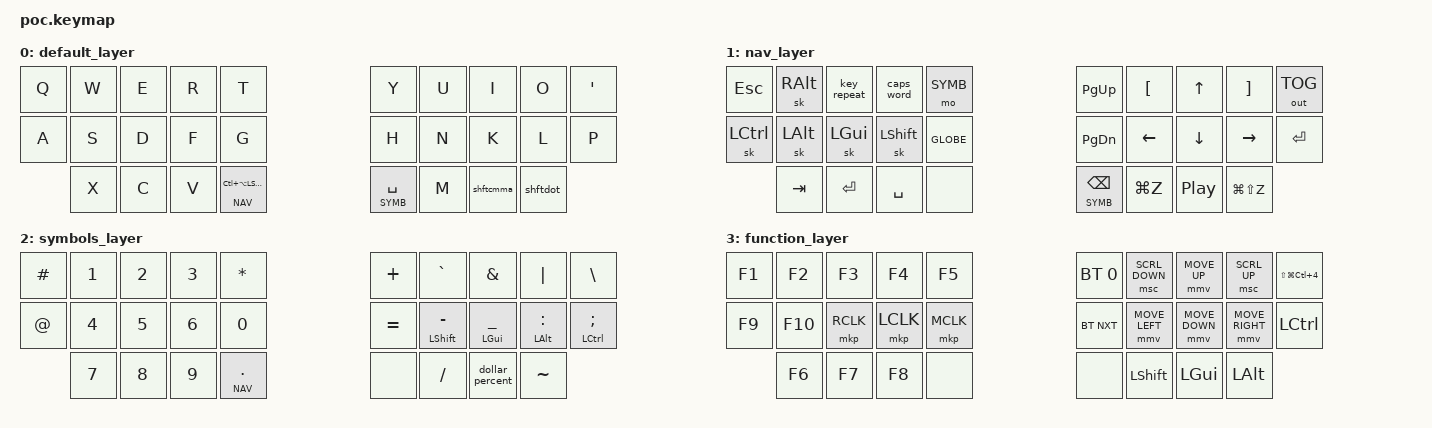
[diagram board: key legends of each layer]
/*
 * Copyright (c) 2020 The ZMK Contributors
 *
 * SPDX-License-Identifier: MIT
 */

#define ZMK_POINTING_DEFAULT_MOVE_VAL 1500
#define ZMK_POINTING_DEFAULT_SCRL_VAL 20

#include <behaviors.dtsi>
#include <dt-bindings/zmk/bt.h>
#include <dt-bindings/zmk/keys.h>
#include <dt-bindings/zmk/outputs.h>
#include <dt-bindings/zmk/pointing.h>

#define DEFAULT 0
#define NAV 1
#define SYMB 2
#define FUNC 3

&sk {
    release-after-ms = <500>;
    quick-release;
};

&lt {
    flavor = "balanced";
    tapping-term-ms = <150>;
    quick-tap-ms = <200>;
};

// &mmv {
// time-to-max-speed-ms = <300>;
// acceleration-exponent = <1>;
// };

/ {
    combos {
        compatible = "zmk,combos";

        z {
            timeout-ms = <40>;
            key-positions = <11 12>;
            bindings = <&kp Z>;
            layers = <0>;
        };

        b {
            timeout-ms = <40>;
            key-positions = <12 13>;
            bindings = <&kp B>;
            layers = <0>;
        };

        j {
            timeout-ms = <40>;
            key-positions = <16 17>;
            bindings = <&kp J>;
            layers = <0>;
        };

        slash {
            timeout-ms = <40>;
            key-positions = <17 18>;
            bindings = <&kp FSLH>;
            layers = <0>;
        };

        britup {
            timeout-ms = <50>;
            key-positions = <1 2 3>;
            bindings = <&kp C_BRI_UP>;
            layers = <0>;
        };

        caps {
            timeout-ms = <50>;
            key-positions = <11 12 13>;
            bindings = <&kp CAPS>;
            layers = <0>;
        };

        britdn {
            timeout-ms = <50>;
            key-positions = <20 21 22>;
            bindings = <&kp C_BRI_DN>;
            layers = <0>;
        };

        volup {
            timeout-ms = <50>;
            key-positions = <6 7 8>;
            bindings = <&kp C_VOL_UP>;
            layers = <0>;
        };

        volmt {
            timeout-ms = <50>;
            key-positions = <16 17 18>;
            bindings = <&kp C_MUTE>;
            layers = <0>;
        };

        voldn {
            timeout-ms = <50>;
            key-positions = <25 26 27>;
            bindings = <&kp C_VOL_DN>;
            layers = <0>;
        };

        bspc {
            timeout-ms = <50>;
            key-positions = <21 22>;
            bindings = <&kp BSPC>;
            layers = <1>;
        };

        home {
            timeout-ms = <50>;
            key-positions = <6 7>;
            bindings = <&kp HOME>;
            layers = <1>;
        };

        end {
            timeout-ms = <50>;
            key-positions = <7 8>;
            bindings = <&kp END>;
            layers = <1>;
        };

        prev {
            timeout-ms = <50>;
            key-positions = <25 26>;
            bindings = <&kp C_PREV>;
            layers = <1>;
        };

        next {
            timeout-ms = <50>;
            key-positions = <26 27>;
            bindings = <&kp C_NEXT>;
            layers = <1>;
        };

        lpar {
            timeout-ms = <50>;
            key-positions = <12 13>;
            bindings = <&kp LPAR>;
            layers = <2>;
        };

        rpar {
            timeout-ms = <50>;
            key-positions = <16 17>;
            bindings = <&kp RPAR>;
            layers = <2>;
        };

        lbkt {
            timeout-ms = <50>;
            key-positions = <11 12>;
            bindings = <&kp LBKT>;
            layers = <2>;
        };

        rbkt {
            timeout-ms = <50>;
            key-positions = <17 18>;
            bindings = <&kp RBKT>;
            layers = <2>;
        };

        lbrc {
            timeout-ms = <50>;
            key-positions = <2 3>;
            bindings = <&kp LBRC>;
            layers = <2>;
        };

        rbrc {
            timeout-ms = <50>;
            key-positions = <6 7>;
            bindings = <&kp RBRC>;
            layers = <2>;
        };

        lt {
            timeout-ms = <50>;
            key-positions = <1 2>;
            bindings = <&kp LT>;
            layers = <2>;
        };

        gt {
            timeout-ms = <50>;
            key-positions = <7 8>;
            bindings = <&kp GT>;
            layers = <2>;
        };

        btclr {
            timeout-ms = <50>;
            key-positions = <10 19>;
            bindings = <&bt BT_CLR>;
            layers = <3>;
        };

        f11 {
            timeout-ms = <50>;
            key-positions = <20 21>;
            bindings = <&kp F11>;
            layers = <3>;
        };

        f12 {
            timeout-ms = <50>;
            key-positions = <21 22>;
            bindings = <&kp F12>;
            layers = <3>;
        };

        bt0 {
            timeout-ms = <50>;
            key-positions = <11 12>;
            bindings = <&bt BT_SEL 0>;
            layers = <3>;
        };

        btnxt {
            timeout-ms = <50>;
            key-positions = <12 13>;
            bindings = <&bt BT_NXT>;
            layers = <3>;
        };

        boot {
            timeout-ms = <50>;
            key-positions = <11 12 13>;
            bindings = <&bootloader>;
            layers = <3>;
        };

        scrl_left {
            timeout-ms = <50>;
            key-positions = <7 8>;
            bindings = <&msc SCRL_LEFT>;
            layers = <3>;
        };

        scrl_right {
            timeout-ms = <50>;
            key-positions = <6 7>;
            bindings = <&msc SCRL_RIGHT>;
            layers = <3>;
        };
    };

    behaviors {
        lm: layer_mod {
            compatible = "zmk,behavior-hold-tap";
            #binding-cells = <2>;
            flavor = "hold-preferred";
            tapping-term-ms = <150>;
            quick-tap-ms = <200>;
            bindings = <&mo>, <&sk>;
        };

        smt: sticky_mod_tap {
            compatible = "zmk,behavior-hold-tap";
            #binding-cells = <2>;
            flavor = "balanced";
            tapping-term-ms = <150>;
            quick-tap-ms = <200>;
            bindings = <&sk>, <&kp>;
        };

        shftcmma: shift_comma {
            compatible = "zmk,behavior-mod-morph";
            #binding-cells = <0>;
            bindings = <&kp CMMA>, <&kp QMARK>;

            mods = <(MOD_LSFT)>;
        };

        shftdot: shift_dot {
            compatible = "zmk,behavior-mod-morph";
            #binding-cells = <0>;
            bindings = <&kp DOT>, <&kp BANG>;

            mods = <(MOD_LSFT)>;
        };

        dollar_percent: dollar_percent {
            compatible = "zmk,behavior-tap-dance";
            #binding-cells = <0>;
            bindings = <&kp DOLLAR>, <&kp PERCENT>;

            tapping-term-ms = <150>;
        };

        conditional_layers {
            compatible = "zmk,conditional-layers";

            tri_layer {
                if-layers = <1 2>;
                then-layer = <3>;
            };
        };
    };

    keymap {
        compatible = "zmk,keymap";

        default_layer {
            bindings = <
&kp Q  &kp W  &kp E  &kp R  &kp T                  &kp Y           &kp U  &kp I      &kp O     &kp APOS
&kp A  &kp S  &kp D  &kp F  &kp G                  &kp H           &kp N  &kp K      &kp L     &kp P
       &kp X  &kp C  &kp V  &lm NAV LC(LA(LSHFT))  &lt SYMB SPACE  &kp M  &shftcmma  &shftdot
            >;
        };

        nav_layer {
            bindings = <
&kp ESC    &sk RALT  &key_repeat  &caps_word  &mo SYMB   &kp PG_UP      &kp LBKT   &kp UP    &kp RBKT       &out OUT_TOG
&sk LCTRL  &sk LALT  &sk LGUI     &sk LSHFT   &kp GLOBE  &kp PG_DN      &kp LEFT   &kp DOWN  &kp RIGHT      &kp ENTER
           &kp TAB   &kp ENTER    &kp SPACE   &none      &lt SYMB BSPC  &kp LG(Z)  &kp C_PP  &kp LG(LS(Z))
            >;
        };

        symbols_layer {
            bindings = <
&kp HASH  &kp N1  &kp N2  &kp N3  &kp STAR        &kp PLUS   &kp GRAVE         &kp AMPS         &kp PIPE         &kp BSLH
&kp AT    &kp N4  &kp N5  &kp N6  &kp N0          &kp EQUAL  &smt LSHFT MINUS  &smt LGUI UNDER  &smt LALT COLON  &smt LCTRL SEMI
          &kp N7  &kp N8  &kp N9  &lt NAV PERIOD  &none      &kp FSLH          &dollar_percent  &kp TILDE
            >;
        };

        function_layer {
            bindings = <
&kp F1  &kp F2   &kp F3     &kp F4     &kp F5     &bt BT_SEL 0  &msc SCRL_DOWN  &mmv MOVE_UP    &msc SCRL_UP     &kp LS(LG(LC(N4)))
&kp F9  &kp F10  &mkp RCLK  &mkp LCLK  &mkp MCLK  &bt BT_NXT    &mmv MOVE_LEFT  &mmv MOVE_DOWN  &mmv MOVE_RIGHT  &kp LCTRL
        &kp F6   &kp F7     &kp F8     &none      &none         &kp LSHFT       &kp LGUI        &kp LALT
            >;
        };
    };
};
